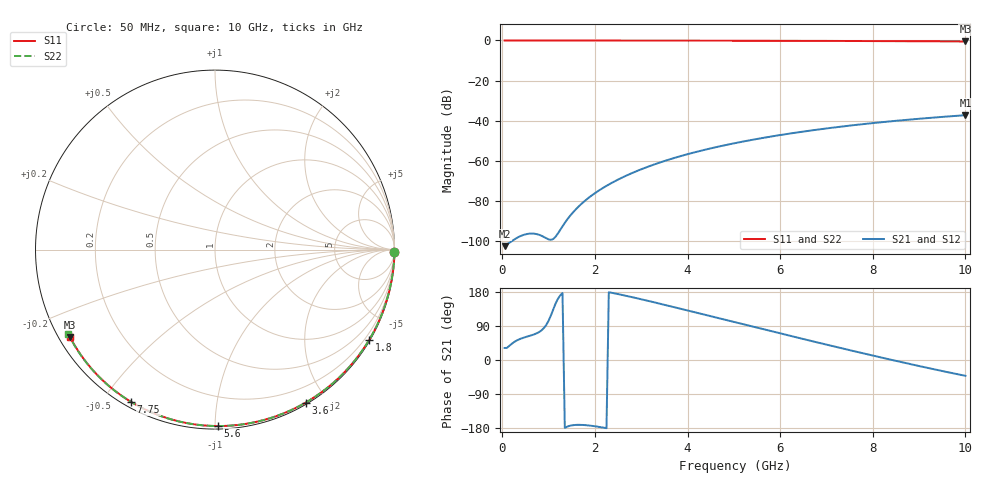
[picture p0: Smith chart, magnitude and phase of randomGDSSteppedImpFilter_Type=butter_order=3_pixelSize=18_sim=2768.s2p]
! freq	dB(S11)	phase(S11)	dB(S12)	phase(S12)
!  dB(S21)	phase(S21)	dB(S22)	phase(S22)
!S-par simulation data
#  GHz  S  DB  R 50
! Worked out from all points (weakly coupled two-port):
!   200 points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, 50 MHz to 10 GHz, reference 50 ohm
!   highest |S21| = -37.23 dB at 10 GHz (marker M1); lowest = -102.5 dB at 50 MHz (marker M2)
!   lowest |S11| = -0.5 dB at 10 GHz (marker M3), VSWR 34.36, Z = 1.57 - j13.9 ohm
!   |S11| at or under -10 dB: nowhere
!   |S22| runs from -0.5 to 0.0 dB; largest |S21 - S12| = 0
!   S11 on the Smith chart (normalised r, x): 50 MHz: open; 1.8 GHz: 0.03, -3.68; 3.6 GHz: 0.02, -1.76; 5.6 GHz: 0.02, -1.01; 7.75 GHz: 0.02, -0.59; 10 GHz: 0.03, -0.28
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0.05  -0.00 -0.9  -102.47 31.8  -102.47 31.8  -0.00 -0.9
0.45  -0.01 -7.7  -96.93 58.5  -96.93 58.5  -0.01 -7.8
0.9  -0.02 -15.4  -97.90 84.5  -97.90 84.5  -0.02 -15.4
1.75  -0.04 -29.6  -80.54 -171.5  -80.54 -171.5  -0.04 -29.7
1.8  -0.04 -30.4  -79.56 -171.9  -79.56 -171.9  -0.04 -30.6
1.95  -0.04 -32.9  -76.89 -173.9  -76.89 -173.9  -0.04 -33.1
2.1  -0.05 -35.4  -74.54 -176.7  -74.54 -176.7  -0.04 -35.5
2.3  -0.05 -38.6  -71.75 178.9  -71.75 178.9  -0.05 -38.8
2.5  -0.05 -41.9  -69.29 174.0  -69.29 174.0  -0.05 -42.1
2.9  -0.06 -48.3  -65.10 163.2  -65.10 163.2  -0.06 -48.5
3.4  -0.07 -56.2  -60.81 148.7  -60.81 148.7  -0.07 -56.5
3.6  -0.08 -59.3  -59.32 142.7  -59.32 142.7  -0.08 -59.6
4.3  -0.10 -70.1  -54.86 121.6  -54.86 121.6  -0.10 -70.4
5.05  -0.12 -81.2  -51.02 98.8  -51.02 98.8  -0.13 -81.6
5.6  -0.15 -89.1  -48.65 82.2  -48.65 82.2  -0.15 -89.6
6.15  -0.17 -96.9  -46.58 65.7  -46.58 65.7  -0.17 -97.4
6.7  -0.20 -104.6  -44.74 49.4  -44.74 49.4  -0.20 -105.1
7.2  -0.24 -111.4  -43.24 34.7  -43.24 34.7  -0.24 -112.0
7.75  -0.28 -118.8  -41.77 18.8  -41.77 18.8  -0.28 -119.5
8.35  -0.33 -126.8  -40.35 1.9  -40.35 1.9  -0.33 -127.6
9.2  -0.41 -138.1  -38.62 -21.2  -38.62 -21.2  -0.41 -139.2
10  -0.51 -148.8  -37.23 -41.8  -37.23 -41.8  -0.51 -150.2
